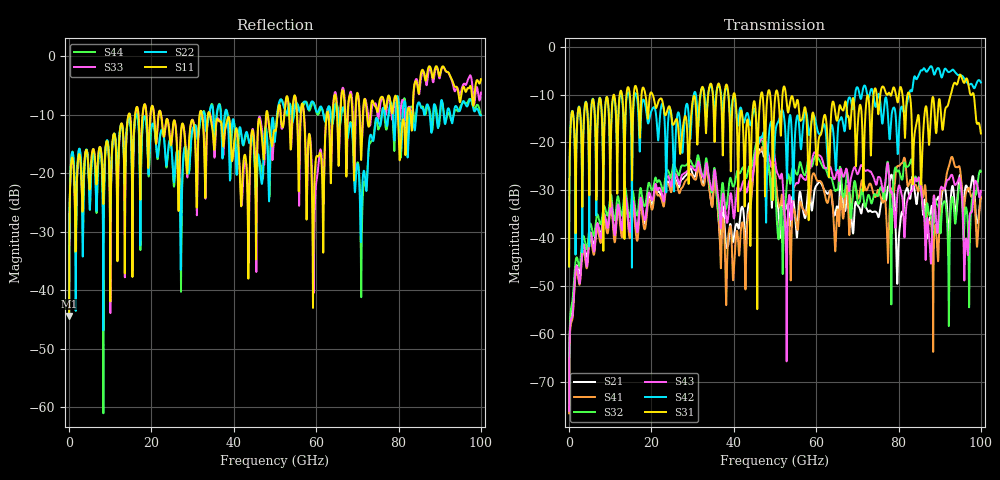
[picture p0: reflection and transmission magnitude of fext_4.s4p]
# Hz S RI R 50
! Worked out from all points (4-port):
!   10000 points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, 10 MHz to 100 GHz, reference 50 ohm
!   strongest paths, dB at 10 MHz, 25.01 GHz, 50.01 GHz, 75.01 GHz, 100 GHz:
!     S31: -45.9, -15.7, -10.8, -13.8, -18.1
!     S42: -45.9, -16.0, -18.9, -10.1, -7.5
!     S43: -76.1, -28.2, -23.6, -27.3, -30.1
!     S32: -75.0, -26.0, -28.7, -31.2, -26.1
!     S41: -76.6, -29.5, -26.3, -29.9, -31.4
!     S21: -75.8, -28.3, -26.5, -35.4, -31.7
!   lowest |S11| = -44.4 dB at 10 MHz (marker M1), VSWR 1.01, Z = 50.3 + j0.535 ohm
!   |S11| at or under -10 dB: start of sweep to 14.44 GHz; 22.33 GHz to 31.7 GHz (9.366 GHz wide, 34.7 % of centre); 34.19 GHz to 47.84 GHz (13.65 GHz wide, 33.3 % of centre)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
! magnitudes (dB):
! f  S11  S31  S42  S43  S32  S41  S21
! 10 MHz  -44.4  -45.9  -45.9  -76.1  -75.0  -76.6  -75.8
! 3.44 GHz  -23.2  -19.3  -18.7  -41.4  -39.6  -42.6  -41.3
! 25.62 GHz  -11.0  -15.9  -26.6  -26.1  -24.8  -27.7  -26.9
! 54.86 GHz  -6.8  -12.7  -18.6  -28.9  -26.0  -34.9  -35.2
! 59.55 GHz  -22.3  -15.5  -14.6  -22.1  -23.2  -26.6  -30.3
! 71.05 GHz  -15.9  -14.2  -10.4  -24.8  -29.9  -28.0  -34.6
! 100 GHz  -3.9  -18.1  -7.5  -30.1  -26.1  -31.4  -31.7
